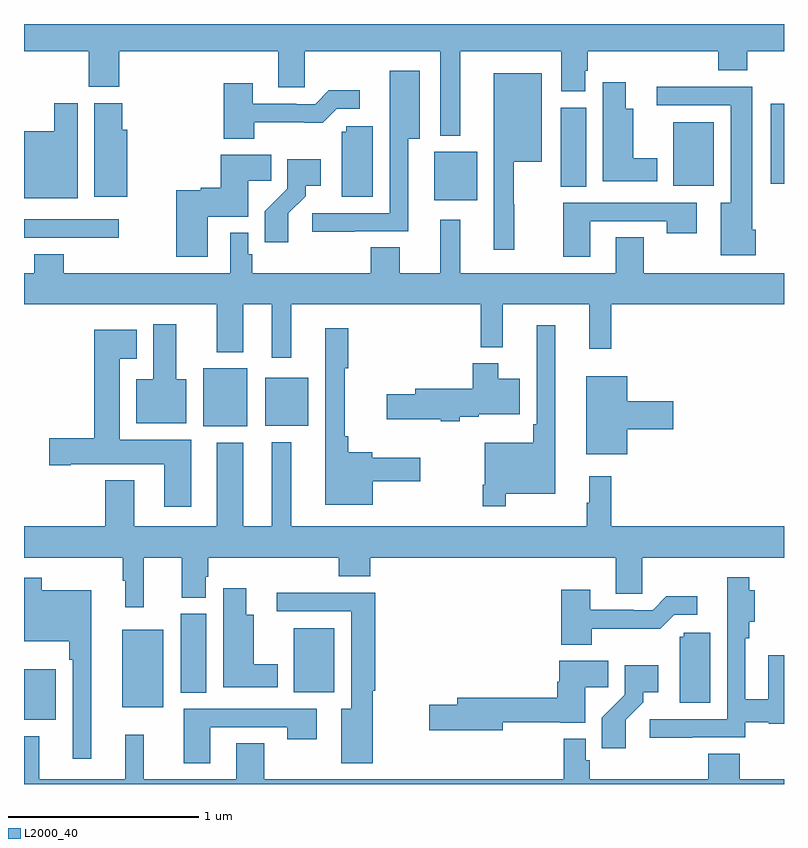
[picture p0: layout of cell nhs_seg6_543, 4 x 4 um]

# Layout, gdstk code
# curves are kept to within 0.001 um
import gdstk
lib = gdstk.Library(unit=1e-6, precision=1e-09)
def R(c, l, rs):  # rectangles x0, y0, x1, y1
    for r in rs: c.add(gdstk.rectangle(r[:2], r[2:], *l))
def P(c, l, *ps):  # polygons
    for p in ps: c.add(gdstk.Polygon(p, *l))
L2000_40 = (2000, 40)

nhs_seg6_543 = lib.new_cell('nhs_seg6_543')
R(nhs_seg6_543, L2000_40, [(145,923.837,145.168,924.103), (145.517,923.903,145.732,924.313), (145.826,923.98,145.96,924.396), (146.42,923.984,146.632,924.319), (145.943,925.382,146.176,925.687), (146.27,925.385,146.497,925.639), (145,926.376,145.498,926.472), (147.158,926.573,147.385,926.827), (147.824,926.644,147.958,927.06), (148.418,926.648,148.63,926.983), (148.931,926.66,149,927.079)])
P(nhs_seg6_543, L2000_40, [(147.295,927.356),(147.827,927.356),(147.827,927.145),(147.955,927.145),(147.955,927.255),(147.968,927.255),(147.968,927.356),(148.655,927.356),(148.655,927.257),(148.807,927.257),(148.807,927.356),(149,927.356),(149,927.5),(145,927.5),(145,927.356),(145.342,927.356),(145.342,927.169),(145.502,927.169),(145.502,927.356),(146.339,927.356),(146.339,927.166),(146.478,927.166),(146.478,927.356),(147.191,927.356),(147.191,926.912),(147.295,926.912)],
  [(146.741,926.409),(147.022,926.409),(147.022,926.897),(147.082,926.897),(147.082,927.253),(146.924,927.253),(146.924,927.001),(146.925,927.001),(146.925,926.505),(146.517,926.505),(146.517,926.407),(146.741,926.407)],
  [(147.58,926.552),(147.577,926.552),(147.577,926.774),(147.724,926.774),(147.724,927.241),(147.473,927.241),(147.473,926.313),(147.58,926.313)],
  [(148.333,926.794),(148.207,926.794),(148.207,927.055),(148.168,927.055),(148.168,927.193),(148.046,927.193),(148.046,926.672),(148.333,926.672)],
  [(146.211,926.982),(146.573,926.981),(146.646,927.054),(146.767,927.054),(146.767,927.151),(146.605,927.151),(146.532,927.078),(146.432,927.078),(146.432,927.081),(146.203,927.081),(146.203,927.187),(146.051,927.187),(146.051,926.897),(146.211,926.897)],
  [(148.852,926.418),(148.834,926.418),(148.834,927.17),(148.329,927.17),(148.329,927.072),(148.721,927.072),(148.721,926.56),(148.667,926.56),(148.667,926.282),(148.852,926.282)],
  [(145.543,926.944),(145.517,926.944),(145.517,927.084),(145.37,927.084),(145.37,926.592),(145.543,926.592)],
  [(145.282,927.082),(145.16,927.082),(145.16,926.935),(145,926.935),(145,926.582),(145.282,926.582)],
  [(146.836,926.961),(146.697,926.961),(146.697,926.934),(146.672,926.934),(146.672,926.59),(146.836,926.59)],
  [(145.966,926.486),(146.179,926.486),(146.179,926.674),(146.3,926.674),(146.3,926.812),(146.035,926.812),(146.035,926.639),(145.929,926.639),(145.929,926.626),(145.801,926.626),(145.801,926.274),(145.966,926.274)],
  [(146.392,926.503),(146.482,926.593),(146.482,926.648),(146.563,926.648),(146.563,926.788),(146.385,926.788),(146.385,926.633),(146.266,926.514),(146.266,926.352),(146.392,926.352)],
  [(147.979,926.463),(148.384,926.463),(148.384,926.4),(148.54,926.4),(148.54,926.559),(147.839,926.559),(147.839,926.274),(147.979,926.274)],
  [(146.407,926.024),(147.403,926.024),(147.403,925.799),(147.521,925.799),(147.521,926.024),(147.974,926.024),(147.974,925.791),(148.091,925.791),(148.091,926.024),(149,926.024),(149,926.188),(148.263,926.188),(148.263,926.378),(148.115,926.378),(148.115,926.188),(147.295,926.188),(147.295,926.47),(147.191,926.47),(147.191,926.188),(146.977,926.188),(146.977,926.324),(146.825,926.324),(146.825,926.188),(146.201,926.188),(146.201,926.289),(146.181,926.289),(146.181,926.401),(146.085,926.401),(146.085,926.188),(145.208,926.188),(145.208,926.287),(145.055,926.287),(145.055,926.188),(145,926.188),(145,926.024),(146.015,926.024),(146.015,925.772),(146.155,925.772),(146.155,926.024),(146.303,926.024),(146.303,925.743),(146.407,925.743)],
  [(145.855,925.63),(145.801,925.63),(145.801,925.921),(145.679,925.921),(145.679,925.63),(145.592,925.63),(145.592,925.4),(145.855,925.4)],
  [(147.535,925.028),(147.796,925.028),(147.796,925.915),(147.699,925.915),(147.699,925.393),(147.679,925.393),(147.679,925.297),(147.426,925.297),(147.426,925.075),(147.414,925.075),(147.414,924.963),(147.535,924.963)],
  [(146.836,925.094),(147.085,925.094),(147.085,925.216),(146.832,925.216),(146.832,925.247),(146.707,925.247),(146.707,925.33),(146.689,925.33),(146.689,925.687),(146.707,925.687),(146.707,925.9),(146.585,925.9),(146.585,924.971),(146.836,924.971)],
  [(145.879,925.312),(145.504,925.312),(145.504,925.739),(145.594,925.739),(145.594,925.891),(145.37,925.891),(145.37,925.319),(145.134,925.319),(145.134,925.177),(145.246,925.177),(145.246,925.184),(145.739,925.184),(145.739,924.96),(145.879,924.96)],
  [(147.294,925.433),(147.394,925.433),(147.394,925.445),(147.61,925.445),(147.61,925.633),(147.496,925.633),(147.496,925.714),(147.362,925.714),(147.362,925.581),(147.059,925.581),(147.059,925.551),(146.91,925.551),(146.91,925.421),(147.194,925.421),(147.194,925.409),(147.294,925.409)],
  [(148.174,925.367),(148.417,925.367),(148.417,925.514),(148.174,925.514),(148.174,925.645),(147.959,925.645),(147.959,925.235),(148.174,925.235)],
  [(145.631,924.692),(145.829,924.692),(145.829,924.481),(145.957,924.481),(145.957,924.591),(145.97,924.591),(145.97,924.692),(146.657,924.692),(146.657,924.593),(146.822,924.593),(146.822,924.692),(148.115,924.692),(148.115,924.502),(148.254,924.502),(148.254,924.692),(149,924.692),(149,924.856),(148.091,924.856),(148.091,925.12),(147.974,925.12),(147.974,924.98),(147.963,924.98),(147.963,924.856),(146.407,924.856),(146.407,925.3),(146.303,925.3),(146.303,924.856),(146.155,924.856),(146.155,925.297),(146.015,925.297),(146.015,924.856),(145.579,924.856),(145.579,925.099),(145.427,925.099),(145.427,924.856),(145,924.856),(145,924.692),(145.521,924.692),(145.521,924.569),(145.532,924.569),(145.532,924.429),(145.631,924.429)],
  [(148.517,923.745),(148.797,923.745),(148.797,923.826),(148.92,923.826),(148.92,923.818),(149,923.818),(149,924.178),(148.916,924.178),(148.916,923.947),(148.797,923.947),(148.797,924.266),(148.817,924.266),(148.817,924.355),(148.847,924.355),(148.847,924.52),(148.817,924.52),(148.817,924.589),(148.7,924.589),(148.7,924.366),(148.701,924.366),(148.701,923.841),(148.293,923.841),(148.293,923.743),(148.517,923.743)],
  [(145.354,924.52),(145.093,924.52),(145.093,924.586),(145,924.586),(145,924.251),(145.237,924.251),(145.237,924.155),(145.257,924.155),(145.257,923.634),(145.354,923.634)],
  [(146.335,924.13),(146.209,924.13),(146.209,924.391),(146.17,924.391),(146.17,924.529),(146.048,924.529),(146.048,924.008),(146.335,924.008)],
  [(147.987,924.318),(148.349,924.317),(148.422,924.39),(148.543,924.39),(148.543,924.487),(148.381,924.487),(148.308,924.414),(148.208,924.414),(148.208,924.417),(147.979,924.417),(147.979,924.523),(147.827,924.523),(147.827,924.233),(147.987,924.233)],
  [(146.836,923.992),(146.849,923.992),(146.849,924.506),(146.331,924.506),(146.331,924.408),(146.723,924.408),(146.723,923.896),(146.669,923.896),(146.669,923.61),(146.836,923.61)],
  [(148.612,924.297),(148.473,924.297),(148.473,924.276),(148.451,924.276),(148.451,923.928),(148.612,923.928)],
  [(147.52,923.826),(147.822,923.826),(147.822,923.822),(147.955,923.822),(147.955,924.01),(148.076,924.01),(148.076,924.148),(147.818,924.148),(147.818,924.038),(147.806,924.038),(147.806,923.954),(147.281,923.954),(147.281,923.918),(147.132,923.918),(147.132,923.783),(147.52,923.783)],
  [(148.168,923.839),(148.258,923.929),(148.258,923.984),(148.339,923.984),(148.339,924.124),(148.161,924.124),(148.161,923.969),(148.042,923.85),(148.042,923.688),(148.168,923.688)],
  [(145.981,923.799),(146.386,923.799),(146.386,923.736),(146.542,923.736),(146.542,923.895),(145.841,923.895),(145.841,923.61),(145.981,923.61)],
  [(149,923.524),(148.766,923.524),(148.766,923.66),(148.601,923.66),(148.601,923.524),(147.977,923.524),(147.977,923.625),(147.957,923.625),(147.957,923.737),(147.841,923.737),(147.841,923.524),(146.265,923.524),(146.265,923.714),(146.117,923.714),(146.117,923.524),(145.631,923.524),(145.631,923.758),(145.532,923.758),(145.532,923.524),(145.079,923.524),(145.079,923.752),(145,923.752),(145,923.5),(149,923.5)])

lib.write_gds('nhs_seg6_543.gds')
